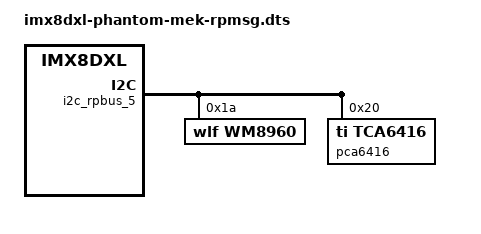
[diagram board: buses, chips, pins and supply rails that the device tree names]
// SPDX-License-Identifier: GPL-2.0+
/*
 * Copyright 2019 NXP
 */

/dts-v1/;

#include "imx8dxl-phantom-mek.dtsi"

/delete-node/ &cm40_i2c;

&i2c_rpbus_5 {
	#address-cells = <1>;
	#size-cells = <0>;
	status = "okay";

	wm8960: wm8960@1a {
		compatible = "wlf,wm8960";
		reg = <0x1a>;
		clocks = <&mclkout0_lpcg 0>;
		clock-names = "mclk";
		wlf,shared-lrclk;
		assigned-clocks = <&clk IMX_SC_R_AUDIO_PLL_0 IMX_SC_PM_CLK_PLL>,
				<&clk IMX_SC_R_AUDIO_PLL_0 IMX_SC_PM_CLK_SLV_BUS>,
				<&clk IMX_SC_R_AUDIO_PLL_0 IMX_SC_PM_CLK_MST_BUS>,
				<&mclkout0_lpcg 0>;
		assigned-clock-rates = <786432000>, <49152000>, <12288000>, <12288000>;
	};

	pca6416: gpio@20 {
		compatible = "ti,tca6416";
		reg = <0x20>;
		gpio-controller;
		#gpio-cells = <2>;
	};
};

&cm40_i2c_lpcg {
	status = "disabled";
};

&can0_lpcg {
	status = "disabled";
};

&reg_can0_en {
	status = "disabled";
};

&reg_can0_stby {
	status = "disabled";
};

&reg_can1_en {
	status = "disabled";
};

&reg_can1_stby {
	status = "disabled";
};

&cm40_intmux {
	status = "disabled";
};

&flexcan1 {
	status = "disabled";
};

&flexcan2 {
	status = "disabled";
};

&flexspi0 {
	status = "disabled";
};
